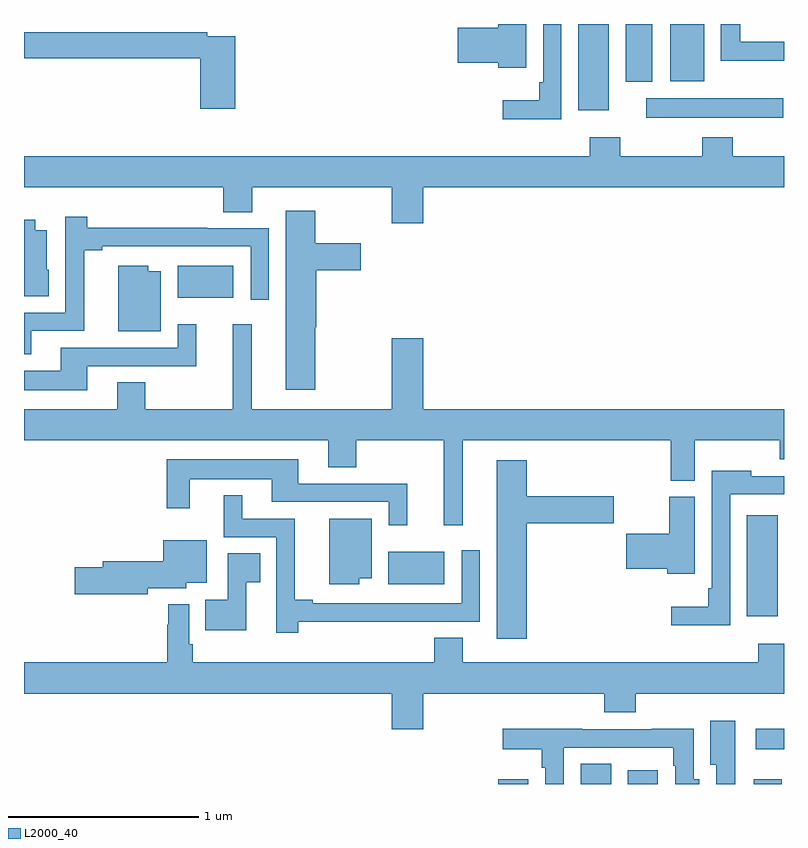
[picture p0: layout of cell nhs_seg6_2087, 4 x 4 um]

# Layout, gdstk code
import gdstk
lib = gdstk.Library(unit=1e-6, precision=1e-09)
def R(c, l, rs):  # rectangles x0, y0, x1, y1
    for r in rs: c.add(gdstk.rectangle(r[:2], r[2:], *l))
def P(c, l, *ps):  # polygons
    for p in ps: c.add(gdstk.Polygon(p, *l))
L2000_40 = (2000, 40)

nhs_seg6_2087 = lib.new_cell('nhs_seg6_2087')
R(nhs_seg6_2087, L2000_40, [(237.497,973.5,237.655,973.525), (237.929,973.5,238.09,973.607), (238.178,973.5,238.336,973.573), (238.841,973.5,238.987,973.525), (238.851,973.682,239,973.79), (238.805,974.382,238.966,974.914), (236.918,974.552,237.211,974.722), (235.808,976.058,236.101,976.228), (238.275,977.006,238.996,977.11), (237.917,977.046,238.078,977.5), (238.166,977.195,238.306,977.5), (238.4,977.198,238.579,977.5)])
P(nhs_seg6_2087, L2000_40, [(237.643,977.5),(237.497,977.5),(237.497,977.48),(237.282,977.48),(237.282,977.297),(237.497,977.297),(237.497,977.27),(237.643,977.27)],
  [(237.828,977.5),(237.732,977.5),(237.732,977.194),(237.712,977.194),(237.712,977.098),(237.519,977.098),(237.519,977),(237.828,977)],
  [(239,977.406),(238.771,977.406),(238.771,977.5),(238.667,977.5),(238.667,977.306),(239,977.306)],
  [(236.111,977.436),(235.964,977.436),(235.964,977.456),(235,977.456),(235,977.32),(235.928,977.32),(235.928,977.055),(236.111,977.055)],
  [(237.1,976.64),(239,976.64),(239,976.804),(238.73,976.804),(238.73,976.903),(238.57,976.903),(238.57,976.804),(238.137,976.804),(238.137,976.903),(237.977,976.903),(237.977,976.804),(235,976.804),(235,976.64),(236.048,976.64),(236.048,976.51),(236.2,976.51),(236.2,976.64),(236.936,976.64),(236.936,976.452),(237.1,976.452)],
  [(236.532,975.905),(236.537,975.905),(236.537,976.205),(236.773,976.205),(236.773,976.347),(236.532,976.347),(236.532,976.516),(236.378,976.516),(236.378,975.576),(236.532,975.576)],
  [(235.039,975.885),(235.316,975.885),(235.316,976.309),(235.411,976.309),(235.411,976.329),(236.193,976.329),(236.193,976.05),(236.289,976.05),(236.289,976.425),(235.964,976.425),(235.964,976.427),(235.334,976.427),(235.334,976.486),(235.218,976.486),(235.218,975.981),(235,975.981),(235,975.761),(235.039,975.761)],
  [(235.129,976.206),(235.12,976.206),(235.12,976.414),(235.06,976.414),(235.06,976.471),(235,976.471),(235,976.066),(235.129,976.066)],
  [(235.72,976.198),(235.654,976.198),(235.654,976.228),(235.496,976.228),(235.496,975.884),(235.72,975.884)],
  [(235.333,975.699),(235.907,975.699),(235.907,975.919),(235.809,975.919),(235.809,975.795),(235.193,975.795),(235.193,975.676),(235,975.676),(235,975.572),(235.333,975.572)],
  [(237.1,975.847),(236.936,975.847),(236.936,975.472),(236.198,975.472),(236.198,975.919),(236.099,975.919),(236.099,975.472),(235.638,975.472),(235.638,975.614),(235.49,975.614),(235.49,975.472),(235,975.472),(235,975.308),(236.6,975.308),(236.6,975.166),(236.748,975.166),(236.748,975.308),(237.209,975.308),(237.209,974.862),(237.308,974.862),(237.308,975.308),(238.403,975.308),(238.403,975.097),(238.531,975.097),(238.531,975.308),(238.978,975.308),(238.978,975.209),(239,975.209),(239,975.472),(237.1,975.472)],
  [(237.017,975.081),(236.443,975.081),(236.443,975.208),(235.752,975.208),(235.752,974.952),(235.873,974.952),(235.873,975.104),(236.303,975.104),(236.303,974.985),(236.919,974.985),(236.919,974.862),(237.017,974.862)],
  [(237.647,974.873),(238.105,974.873),(238.105,975.015),(237.647,975.015),(237.647,975.205),(237.488,975.205),(237.488,974.265),(237.647,974.265)],
  [(238.716,975.024),(239,975.024),(239,975.12),(238.827,975.12),(238.827,975.148),(238.62,975.148),(238.62,974.53),(238.6,974.53),(238.6,974.434),(238.407,974.434),(238.407,974.336),(238.716,974.336)],
  [(236.444,974.354),(237.074,974.354),(237.074,974.355),(237.399,974.355),(237.399,974.731),(237.303,974.731),(237.303,974.451),(236.521,974.451),(236.521,974.471),(236.426,974.471),(236.426,974.895),(236.149,974.895),(236.149,975.019),(236.051,975.019),(236.051,974.799),(236.328,974.799),(236.328,974.295),(236.444,974.295)],
  [(238.531,975.012),(238.397,975.012),(238.397,974.816),(238.17,974.816),(238.17,974.633),(238.385,974.633),(238.385,974.606),(238.531,974.606)],
  [(236.764,974.582),(236.83,974.582),(236.83,974.896),(236.606,974.896),(236.606,974.552),(236.764,974.552)],
  [(235.65,974.531),(235.854,974.531),(235.854,974.558),(235.963,974.558),(235.963,974.782),(235.733,974.782),(235.733,974.672),(235.415,974.672),(235.415,974.642),(235.266,974.642),(235.266,974.5),(235.65,974.5)],
  [(236.17,974.563),(236.243,974.563),(236.243,974.714),(236.073,974.714),(236.073,974.47),(235.954,974.47),(235.954,974.309),(236.17,974.309)],
  [(237.1,973.976),(238.055,973.976),(238.055,973.877),(238.22,973.877),(238.22,973.976),(239,973.976),(239,974.239),(238.865,974.239),(238.865,974.14),(237.31,974.14),(237.31,974.27),(237.158,974.27),(237.158,974.14),(235.889,974.14),(235.889,974.236),(235.869,974.236),(235.869,974.446),(235.759,974.446),(235.759,974.339),(235.753,974.339),(235.753,974.14),(235,974.14),(235,973.976),(236.936,973.976),(236.936,973.788),(237.1,973.788)],
  [(238.744,973.834),(238.613,973.834),(238.613,973.601),(238.643,973.601),(238.643,973.5),(238.744,973.5)],
  [(237.84,973.692),(238.416,973.692),(238.416,973.595),(238.428,973.595),(238.428,973.5),(238.555,973.5),(238.555,973.524),(238.524,973.524),(238.524,973.79),(238.303,973.79),(238.303,973.788),(237.937,973.788),(237.937,973.79),(237.519,973.79),(237.519,973.682),(237.724,973.682),(237.724,973.586),(237.744,973.586),(237.744,973.5),(237.84,973.5)])

lib.write_gds('nhs_seg6_2087.gds')
